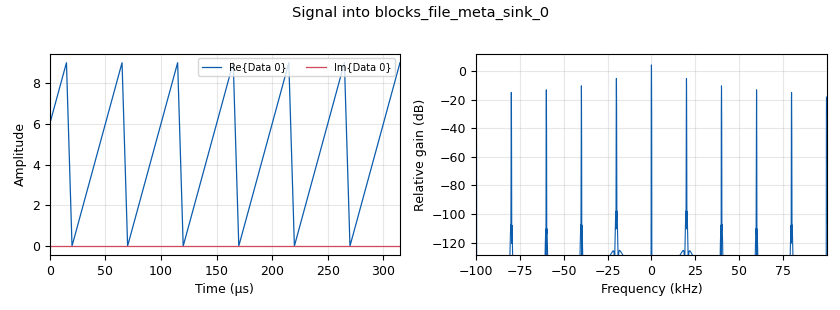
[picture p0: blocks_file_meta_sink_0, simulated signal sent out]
<?xml version='1.0' encoding='utf-8'?>
<?grc format='1' created='3.7.11'?>
<flow_graph>
<block>
<key>options</key>
<param><key>id</key><value>file_metadata_vector_sink</value></param>
<param><key>category</key><value>Custom</value></param>
<param><key>generate_options</key><value>no_gui</value></param>
<param><key>run_options</key><value>run</value></param>
</block>
<block>
<key>variable</key>
<param><key>id</key><value>samp_rate</value></param>
<param><key>value</key><value>200000</value></param>
</block>
<block>
<key>blocks_file_meta_sink</key>
<param><key>id</key><value>blocks_file_meta_sink_0</value></param>
<param><key>detached</key><value>True</value></param>
<param><key>extra_dict</key><value>""</value></param>
<param><key>file</key><value>C:\Users\Zyglabs\Dropbox\2017_05_Summer_Research\EARS\Refs\GnuRadio\Trials\Trial4_file_metadata_vector_sink.out</value></param>
<param><key>type</key><value>complex</value></param>
<param><key>max_seg_size</key><value>1000000</value></param>
<param><key>rel_rate</key><value>1</value></param>
<param><key>samp_rate</key><value>samp_rate</value></param>
<param><key>vlen</key><value>10</value></param>
</block>
<block>
<key>blocks_head</key>
<param><key>id</key><value>blocks_head_0</value></param>
<param><key>num_items</key><value>10010000</value></param>
<param><key>type</key><value>complex</value></param>
<param><key>vlen</key><value>10</value></param>
</block>
<block>
<key>blocks_vector_source_x</key>
<param><key>id</key><value>blocks_vector_source_x_0</value></param>
<param><key>type</key><value>complex</value></param>
<param><key>repeat</key><value>True</value></param>
<param><key>vlen</key><value>10</value></param>
<param><key>vector</key><value>10*[0,1,2,3,4,5,6,7,8,9]</value></param>
</block>
<connection><source_block_id>blocks_head_0</source_block_id><sink_block_id>blocks_file_meta_sink_0</sink_block_id><source_key>0</source_key><sink_key>0</sink_key></connection>
<connection><source_block_id>blocks_vector_source_x_0</source_block_id><sink_block_id>blocks_head_0</sink_block_id><source_key>0</source_key><sink_key>0</sink_key></connection>
</flow_graph>
